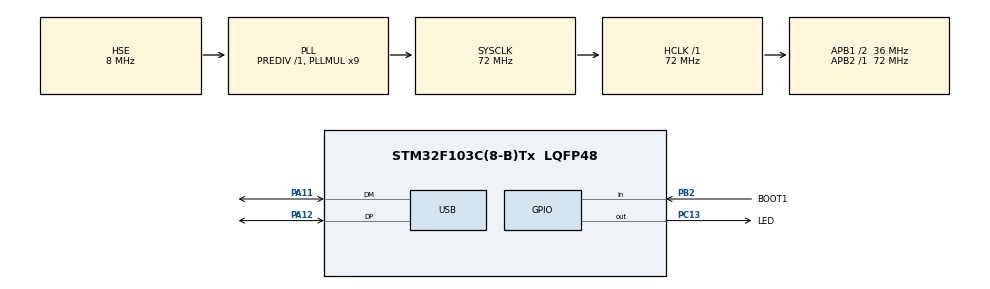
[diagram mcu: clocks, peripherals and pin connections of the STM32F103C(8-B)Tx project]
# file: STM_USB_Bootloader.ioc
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IWDG.Prescaler=IWDG_PRESCALER_128
IWDG.Reload=3125
Mcu.Family=STM32F1
Mcu.Name=STM32F103C(8-B)Tx
Mcu.Package=LQFP48
NVIC.PriorityGroup=NVIC_PRIORITYGROUP_4
NVIC.USB_LP_CAN1_RX0_IRQn=true\:0\:0\:false\:false\:true\:false\:true
PA11.Mode=Device
PA11.Signal=USB_DM
PA12.Mode=Device
PA12.Signal=USB_DP
PA13.Mode=Serial_Wire
PA13.Signal=SYS_JTMS-SWDIO
PA14.Mode=Serial_Wire
PA14.Signal=SYS_JTCK-SWCLK
PB2.GPIO_Label=BOOT1
PB2.GPIO_PuPd=GPIO_PULLDOWN
PB2.Signal=GPIO_Input
PC13-TAMPER-RTC.GPIO_Label=LED
PC13-TAMPER-RTC.Signal=GPIO_Output
PD0-OSC_IN.Mode=HSE-External-Oscillator
PD0-OSC_IN.Signal=RCC_OSC_IN
PD1-OSC_OUT.Mode=HSE-External-Oscillator
PD1-OSC_OUT.Signal=RCC_OSC_OUT
ProjectManager.HeapSize=0x200
ProjectManager.StackSize=0x800
ProjectManager.TargetToolchain=EWARM V8
RCC.AHBFreq_Value=72000000
RCC.APB1CLKDivider=RCC_HCLK_DIV2
RCC.APB1Freq_Value=36000000
RCC.APB1TimFreq_Value=72000000
RCC.APB2Freq_Value=72000000
RCC.APB2TimFreq_Value=72000000
RCC.HCLKFreq_Value=72000000
RCC.PLLMUL=RCC_PLL_MUL9
RCC.SYSCLKFreq_VALUE=72000000
RCC.SYSCLKSource=RCC_SYSCLKSOURCE_PLLCLK
RCC.USBFreq_Value=48000000
RCC.USBPrescaler=RCC_USBCLKSOURCE_PLL_DIV1_5
USB_DEVICE.CLASS_NAME_FS=CDC
USB_DEVICE.VirtualMode=Cdc
USB_DEVICE.VirtualModeFS=Cdc_FS
VP_IWDG_VS_IWDG.Mode=IWDG_Activate
VP_USB_DEVICE_VS_USB_DEVICE_CDC_FS.Mode=CDC_FS
board=custom

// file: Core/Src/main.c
/* USER CODE BEGIN Header */
/**
  ******************************************************************************
  * @file           : main.c
  * @brief          : Main program body
  ******************************************************************************
  * @attention
  *
  * <h2><center>&copy; Copyright (c) 2021 STMicroelectronics.
  * All rights reserved.</center></h2>
  *
  * This software component is licensed by ST under Ultimate Liberty license
  * SLA0044, the "License"; You may not use this file except in compliance with
  * the License. You may obtain a copy of the License at:
  *                             www.st.com/SLA0044
  *
  ******************************************************************************
  */
/* USER CODE END Header */
#include "main.h"
#include "usb_device.h"

/* USER CODE BEGIN Includes */
#include "ferenc_nemeth/uart.h"
#include "ferenc_nemeth/flash.h"
#include "ferenc_nemeth/xmodem.h"
#include "usbd_cdc.h"
/* USER CODE END Includes */

/* USER CODE BEGIN PD */
#define TERMINAL_CONNECT_TIMEOUT 5  // sec.
/* USER CODE END PD */

IWDG_HandleTypeDef hiwdg;

void SystemClock_Config(void);
static void MX_GPIO_Init(void);
static void MX_IWDG_Init(void);

/* USER CODE BEGIN PFP */
extern USBD_HandleTypeDef hUsbDeviceFS;
extern PCD_HandleTypeDef hpcd_USB_FS;
extern volatile uint8_t usb_state;
/* USER CODE END PFP */

int main(void)
{
  /* USER CODE BEGIN 1 */
  int boot_jumper = (HAL_GPIO_ReadPin(BOOT1_GPIO_Port, BOOT1_Pin) == GPIO_PIN_SET);
  /* USER CODE END 1 */

  /* MCU Configuration--------------------------------------------------------*/

  /* Reset of all peripherals, Initializes the Flash interface and the Systick. */
  HAL_Init();

  /* Configure the system clock */
  SystemClock_Config();

  /* USER CODE BEGIN SysInit */
  // if it is not power reset or brown out reset
  if ((RCC->CSR & RCC_CSR_LPWRRSTF_Msk) == 0 && (RCC->CSR & RCC_CSR_PORRSTF_Msk) == 0)
  {
    MX_GPIO_Init();
    for (int i = 0; i < 50; i++)
    {
      HAL_Delay(10);
      HAL_GPIO_TogglePin(LED_GPIO_Port, LED_Pin);
    }
    //HAL_Delay(500);
    USB_off(); // For restart if device reset
  }
  __HAL_RCC_CLEAR_RESET_FLAGS ();

  /* USER CODE END SysInit */

  /* Initialize all configured peripherals */
  MX_GPIO_Init();
  MX_IWDG_Init();
  MX_USB_DEVICE_Init();
  /* USER CODE BEGIN 2 */

  HAL_GPIO_WritePin(LED_GPIO_Port, LED_Pin, GPIO_PIN_RESET);
  for (int i = 0; i < 1000 && USBD_STATE_CONFIGURED != hUsbDeviceFS.dev_state; i++)
  {
      HAL_Delay(1);
  }
  HAL_GPIO_WritePin(LED_GPIO_Port, LED_Pin, GPIO_PIN_SET);

  if (USBD_STATE_CONFIGURED != hUsbDeviceFS.dev_state) // USB not connected
  {
    flash_jump_to_app();
  }

  // waiting and reset USB CDC config from PC OS.
  for (int i = 0; i < 1000 && 0xFF == usb_state && USBD_STATE_CONFIGURED == hUsbDeviceFS.dev_state; i++)
  {
      HAL_Delay(1);
  }
  HAL_Delay(100);
  usb_state = 0xFF;

  for (int i = 0; i < 10 * TERMINAL_CONNECT_TIMEOUT || boot_jumper; i++)
  {
    HAL_IWDG_Refresh(&hiwdg);
    HAL_GPIO_TogglePin(LED_GPIO_Port, LED_Pin);
    HAL_Delay(100);

    if (USBD_STATE_CONFIGURED == hUsbDeviceFS.dev_state && CDC_GET_LINE_CODING == usb_state)
    {
     /*
      static uint8_t buf[200];
      volatile int len = sizeof(buf) - 1;
      volatile uint32_t addr = FLASH_APP_START_ADDRESS;
      while (len == sizeof(buf) - 1)
      {
          memcpy((void*)buf, (void*)addr, len);
          addr += len;
          for (int i = 0; i < len; i++)
          {
              if (0xFF == buf[i]) {
                  len = i;
                  break;
              }
          }
          buf[len] = '\0';
          uart_transmit_str(buf);
      }
      HAL_Delay(1000);
      HAL_NVIC_SystemReset();
      */
      uart_transmit_str((uint8_t*)"\n\r================================\n\r");
      uart_transmit_str((uint8_t*)"UART Bootloader\n\r");
      uart_transmit_str((uint8_t*)"https://github.com/ferenc-nemeth\n\r");
      uart_transmit_str((uint8_t*)"https://github.com/Sergey-engineer-rus/STM32F103_USB_Bootloader\n\r");
      uart_transmit_str((uint8_t*)"================================\n\r\n\r");
      usb_state = 0xFF;
      break;
    }
    else
    {
      usb_state = 0xFF;
    }
    if (i + 1 == 10 * TERMINAL_CONNECT_TIMEOUT && !boot_jumper) // Terminal "ExtraPuTTY" not connected
    {
       flash_jump_to_app();
    }
  }

  /* USER CODE END 2 */

  /* Infinite loop */
  while (1)
  {

    /* USER CODE BEGIN 3 */
    /* Turn on the green LED to indicate, that we are in bootloader mode.*/
    HAL_GPIO_WritePin(LED_GPIO_Port, LED_Pin, GPIO_PIN_RESET);
    /* Ask for new data and start the Xmodem protocol. */
    uart_transmit_str((uint8_t*)"Please send a new binary file with Xmodem protocol to update the firmware.\n\r"
                                "(You have 10 seconds to do this...)\n\r> ");

    if (X_ERROR_TIMEOUT == xmodem_receive())
    {
        uart_transmit_str((uint8_t*)"\n\rFile upload start timeout! Please try again.\n\r");
    }
    else
    {
      /* We only exit the xmodem protocol, if there are any errors.
       * In that case, notify the user and start over. */
      uart_transmit_str((uint8_t*)"\n\rFailed... Please try again.\n\r");
    }
    HAL_Delay(1000);
    HAL_NVIC_SystemReset();
  }
  /* USER CODE END 3 */
}

void SystemClock_Config(void)
{
  RCC_OscInitTypeDef RCC_OscInitStruct = {0};
  RCC_ClkInitTypeDef RCC_ClkInitStruct = {0};
  RCC_PeriphCLKInitTypeDef PeriphClkInit = {0};

  /** Initializes the RCC Oscillators according to the specified parameters
  * in the RCC_OscInitTypeDef structure.
  */
  RCC_OscInitStruct.OscillatorType = RCC_OSCILLATORTYPE_LSI|RCC_OSCILLATORTYPE_HSE;
  RCC_OscInitStruct.HSEState = RCC_HSE_ON;
  RCC_OscInitStruct.HSEPredivValue = RCC_HSE_PREDIV_DIV1;
  RCC_OscInitStruct.HSIState = RCC_HSI_ON;
  RCC_OscInitStruct.LSIState = RCC_LSI_ON;
  RCC_OscInitStruct.PLL.PLLState = RCC_PLL_ON;
  RCC_OscInitStruct.PLL.PLLSource = RCC_PLLSOURCE_HSE;
  RCC_OscInitStruct.PLL.PLLMUL = RCC_PLL_MUL9;
  if (HAL_RCC_OscConfig(&RCC_OscInitStruct) != HAL_OK)
  {
    Error_Handler();
  }
  /** Initializes the CPU, AHB and APB buses clocks
  */
  RCC_ClkInitStruct.ClockType = RCC_CLOCKTYPE_HCLK|RCC_CLOCKTYPE_SYSCLK
                              |RCC_CLOCKTYPE_PCLK1|RCC_CLOCKTYPE_PCLK2;
  RCC_ClkInitStruct.SYSCLKSource = RCC_SYSCLKSOURCE_PLLCLK;
  RCC_ClkInitStruct.AHBCLKDivider = RCC_SYSCLK_DIV1;
  RCC_ClkInitStruct.APB1CLKDivider = RCC_HCLK_DIV2;
  RCC_ClkInitStruct.APB2CLKDivider = RCC_HCLK_DIV1;

  if (HAL_RCC_ClockConfig(&RCC_ClkInitStruct, FLASH_LATENCY_2) != HAL_OK)
  {
    Error_Handler();
  }
  PeriphClkInit.PeriphClockSelection = RCC_PERIPHCLK_USB;
  PeriphClkInit.UsbClockSelection = RCC_USBCLKSOURCE_PLL_DIV1_5;
  if (HAL_RCCEx_PeriphCLKConfig(&PeriphClkInit) != HAL_OK)
  {
    Error_Handler();
  }
}

static void MX_IWDG_Init(void)
{

  hiwdg.Instance = IWDG;
  hiwdg.Init.Prescaler = IWDG_PRESCALER_128;
  hiwdg.Init.Reload = 3125;
  if (HAL_IWDG_Init(&hiwdg) != HAL_OK)
  {
    Error_Handler();
  }

}

static void MX_GPIO_Init(void)
{
  GPIO_InitTypeDef GPIO_InitStruct = {0};

  /* GPIO Ports Clock Enable */
  __HAL_RCC_GPIOC_CLK_ENABLE();
  __HAL_RCC_GPIOD_CLK_ENABLE();
  __HAL_RCC_GPIOB_CLK_ENABLE();
  __HAL_RCC_GPIOA_CLK_ENABLE();

  /*Configure GPIO pin Output Level */
  HAL_GPIO_WritePin(LED_GPIO_Port, LED_Pin, GPIO_PIN_RESET);

  /*Configure GPIO pin : LED_Pin */
  GPIO_InitStruct.Pin = LED_Pin;
  GPIO_InitStruct.Mode = GPIO_MODE_OUTPUT_PP;
  GPIO_InitStruct.Pull = GPIO_NOPULL;
  GPIO_InitStruct.Speed = GPIO_SPEED_FREQ_LOW;
  HAL_GPIO_Init(LED_GPIO_Port, &GPIO_InitStruct);

  /*Configure GPIO pin : BOOT1_Pin */
  GPIO_InitStruct.Pin = BOOT1_Pin;
  GPIO_InitStruct.Mode = GPIO_MODE_INPUT;
  GPIO_InitStruct.Pull = GPIO_PULLDOWN;
  HAL_GPIO_Init(BOOT1_GPIO_Port, &GPIO_InitStruct);

}

void Error_Handler(void)
{
  __disable_irq();
  while (1)
  {
  }
}

/************************ (C) COPYRIGHT STMicroelectronics *****END OF FILE****/
